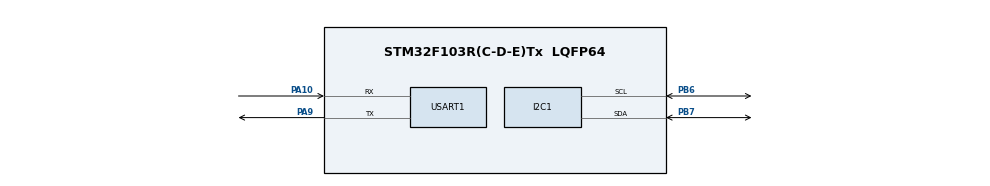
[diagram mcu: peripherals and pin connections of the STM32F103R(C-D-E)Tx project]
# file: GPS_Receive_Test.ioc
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Mcu.Family=STM32F1
Mcu.Name=STM32F103R(C-D-E)Tx
Mcu.Package=LQFP64
NVIC.PriorityGroup=NVIC_PRIORITYGROUP_4
PA10.Mode=Asynchronous
PA10.Signal=USART1_RX
PA9.Mode=Asynchronous
PA9.Signal=USART1_TX
PB6.Mode=I2C
PB6.Signal=I2C1_SCL
PB7.Mode=I2C
PB7.Signal=I2C1_SDA
ProjectManager.HeapSize=0x200
ProjectManager.StackSize=0x400
ProjectManager.TargetToolchain=STM32CubeIDE
RCC.APB1Freq_Value=8000000
RCC.APB2Freq_Value=8000000
USART1.VirtualMode=VM_ASYNC
board=custom

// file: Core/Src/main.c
/* USER CODE BEGIN Header */
/**
  ******************************************************************************
  * @file           : main.c
  * @brief          : Main program body
  ******************************************************************************
  * @attention
  *
  * Copyright (c) 2023 STMicroelectronics.
  * All rights reserved.
  *
  * This software is licensed under terms that can be found in the LICENSE file
  * in the root directory of this software component.
  * If no LICENSE file comes with this software, it is provided AS-IS.
  *
  ******************************************************************************
  */
/* USER CODE END Header */
#include "main.h"

/* USER CODE BEGIN Includes */
#include "nmea_parse.h"
#include <stdio.h>
#include <inttypes.h>
#include "debug_io.h"

/* USER CODE END Includes */

/* USER CODE BEGIN PD */
#define DEVICE_ADDRESS (0x42<<1)

/* USER CODE END PD */

I2C_HandleTypeDef hi2c1;

UART_HandleTypeDef huart1;

void SystemClock_Config(void);
static void MX_GPIO_Init(void);
static void MX_I2C1_Init(void);
static void MX_USART1_UART_Init(void);

/* USER CODE BEGIN 0 */

/*
 * @brief parseBuffer: parses the nmea message buffer into a GPS struct
 * @param *buffer: nmea message buffer
 */
void parseBuffer(uint8_t *buffer){
	GPS myData;
	nmea_parse(&myData, buffer);

	if (myData.fix == 1) {
//		printf("Fix: %d\r\n", myData.fix);
		printf("Time: %s\r\n", myData.lastMeasure);
		printf("Latitude: %f%c\r\n", myData.latitude, myData.latSide);
		printf("Longitude: %f%c\r\n", myData.longitude, myData.lonSide);
		printf("Altitude: %f\r\n", myData.altitude);
		printf("Sat Count: %d\r\n", myData.satelliteCount);
	}
	else {
		printf("No Fix Yet\r\n");
	}

}

/* USER CODE END 0 */

int main(void)
{

  /* MCU Configuration--------------------------------------------------------*/

  /* Reset of all peripherals, Initializes the Flash interface and the Systick. */
  HAL_Init();

  /* Configure the system clock */
  SystemClock_Config();

  /* Initialize all configured peripherals */
  MX_GPIO_Init();
  MX_I2C1_Init();
  MX_USART1_UART_Init();

  /* Infinite loop */
  while (1)
  {

    /* USER CODE BEGIN 3 */

	  /* If ready to receive */
	  if (HAL_I2C_IsDeviceReady(&hi2c1, DEVICE_ADDRESS, 1, HAL_MAX_DELAY) == HAL_OK){
		  uint8_t receiveBuffer[512];

		  /* Receive message over I2C */
		  HAL_I2C_Master_Receive(&hi2c1, DEVICE_ADDRESS, receiveBuffer, sizeof(receiveBuffer), HAL_MAX_DELAY);

		  /* Parse the receive buffer. The function will print the parsed info if the message is valid */
		  parseBuffer(receiveBuffer);
	  }
	  else {
		  /* Device not ready to receive */
		  printf("Device is not ready for I2C communication.\n\r");
	  }

	  HAL_Delay(1000);
  }
  /* USER CODE END 3 */
}

void SystemClock_Config(void)
{
  RCC_OscInitTypeDef RCC_OscInitStruct = {0};
  RCC_ClkInitTypeDef RCC_ClkInitStruct = {0};

  /** Initializes the RCC Oscillators according to the specified parameters
  * in the RCC_OscInitTypeDef structure.
  */
  RCC_OscInitStruct.OscillatorType = RCC_OSCILLATORTYPE_HSI;
  RCC_OscInitStruct.HSIState = RCC_HSI_ON;
  RCC_OscInitStruct.HSICalibrationValue = RCC_HSICALIBRATION_DEFAULT;
  RCC_OscInitStruct.PLL.PLLState = RCC_PLL_NONE;
  if (HAL_RCC_OscConfig(&RCC_OscInitStruct) != HAL_OK)
  {
    Error_Handler();
  }

  /** Initializes the CPU, AHB and APB buses clocks
  */
  RCC_ClkInitStruct.ClockType = RCC_CLOCKTYPE_HCLK|RCC_CLOCKTYPE_SYSCLK
                              |RCC_CLOCKTYPE_PCLK1|RCC_CLOCKTYPE_PCLK2;
  RCC_ClkInitStruct.SYSCLKSource = RCC_SYSCLKSOURCE_HSI;
  RCC_ClkInitStruct.AHBCLKDivider = RCC_SYSCLK_DIV1;
  RCC_ClkInitStruct.APB1CLKDivider = RCC_HCLK_DIV1;
  RCC_ClkInitStruct.APB2CLKDivider = RCC_HCLK_DIV1;

  if (HAL_RCC_ClockConfig(&RCC_ClkInitStruct, FLASH_LATENCY_0) != HAL_OK)
  {
    Error_Handler();
  }
}

static void MX_I2C1_Init(void)
{

  hi2c1.Instance = I2C1;
  hi2c1.Init.ClockSpeed = 100000;
  hi2c1.Init.DutyCycle = I2C_DUTYCYCLE_2;
  hi2c1.Init.OwnAddress1 = 0;
  hi2c1.Init.AddressingMode = I2C_ADDRESSINGMODE_7BIT;
  hi2c1.Init.DualAddressMode = I2C_DUALADDRESS_DISABLE;
  hi2c1.Init.OwnAddress2 = 0;
  hi2c1.Init.GeneralCallMode = I2C_GENERALCALL_DISABLE;
  hi2c1.Init.NoStretchMode = I2C_NOSTRETCH_DISABLE;
  if (HAL_I2C_Init(&hi2c1) != HAL_OK)
  {
    Error_Handler();
  }

}

static void MX_USART1_UART_Init(void)
{

  huart1.Instance = USART1;
  huart1.Init.BaudRate = 115200;
  huart1.Init.WordLength = UART_WORDLENGTH_8B;
  huart1.Init.StopBits = UART_STOPBITS_1;
  huart1.Init.Parity = UART_PARITY_NONE;
  huart1.Init.Mode = UART_MODE_TX_RX;
  huart1.Init.HwFlowCtl = UART_HWCONTROL_NONE;
  huart1.Init.OverSampling = UART_OVERSAMPLING_16;
  if (HAL_UART_Init(&huart1) != HAL_OK)
  {
    Error_Handler();
  }

}

static void MX_GPIO_Init(void)
{

  /* GPIO Ports Clock Enable */
  __HAL_RCC_GPIOA_CLK_ENABLE();
  __HAL_RCC_GPIOB_CLK_ENABLE();

}

void Error_Handler(void)
{
  __disable_irq();
  while (1)
  {
  }
}
